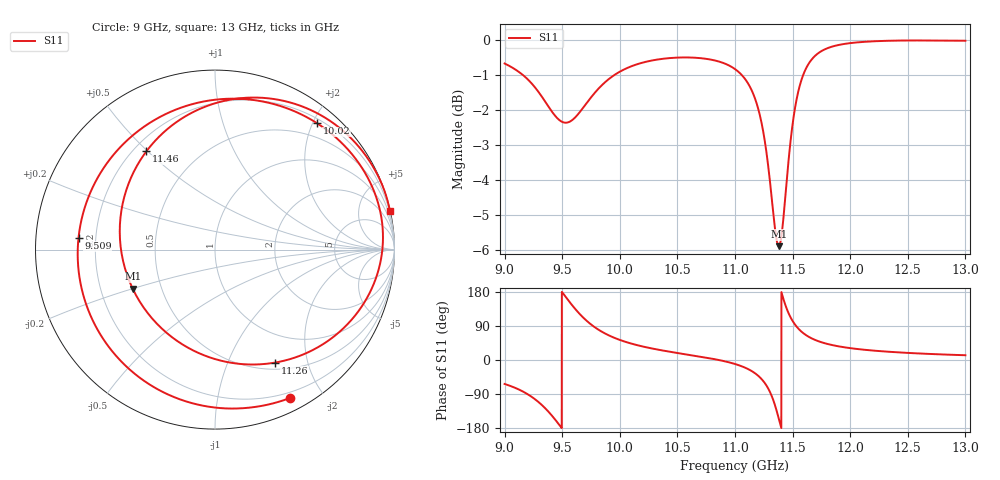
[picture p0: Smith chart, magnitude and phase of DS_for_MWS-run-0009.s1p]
! TOUCHSTONE file generated by CST DESIGN STUDIO
! Date and time: Tue Feb  4 13:04:49 2025
! Project name: C:\Work\MatlabApps\UnitCellOptimizationMatlab\CST\unitcell.cst
! Tree item: Tasks\Sweep1\SPara1\S-Parameters
! Header version: 2024
! Port assignment regex: !\s*Touchstone port\s*([0-9]+)\s*=\s*(CST MWS port|CST DES external port|CST DES block port)\s*(.+)\s* \(\"(.*)\"\)(\s*mode\s*([0-9]+))?.*
! Touchstone port assignment:
! Touchstone port 1 = CST DES external port 1 ("")
# GHz S MA R 50
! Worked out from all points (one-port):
!   4001 points, 9 GHz to 13 GHz, reference 50 ohm
!   lowest |S11| = -5.9 dB at 11.38 GHz (marker M1), VSWR 3.06, Z = 17.1 - j10 ohm
!   |S11| at or under -10 dB: nowhere
!   S11 on the Smith chart (normalised r, x): 9 GHz: 0.14, -1.62; 9.509 GHz: 0.13, +0.04; 10.02 GHz: 0.27, +2.06; 11.26 GHz: 0.59, -1.50; 11.46 GHz: 0.25, +0.50; 13 GHz: 0.07, +9.09
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9  0.9263 -63.2
9.144  0.8958 -80.9
9.291  0.8449 -110.1
9.388  0.8006 -138.9
9.5  0.7643 178.7
9.509  0.7632 175.0
9.614  0.7761 134.3
9.71  0.8123 104.1
9.852  0.8649 73.2
10  0.9016 53.0
10.017  0.9048 51.2
10.223  0.9312 34.0
10.5  0.9445 18.5
11  0.9094 -10.5
11.156  0.8399 -31.3
11.212  0.7859 -44.6
11.261  0.7135 -61.9
11.324  0.5833 -99.0
11.38  0.5077 -154.6
11.419  0.5539 162.3
11.463  0.6681 124.8
11.5  0.7586 103.0
11.588  0.8884 72.0
11.684  0.946 54.5
11.814  0.9757 41.5
12  0.9906 31.3
12.5  0.9992 18.7
13  0.9984 12.6
